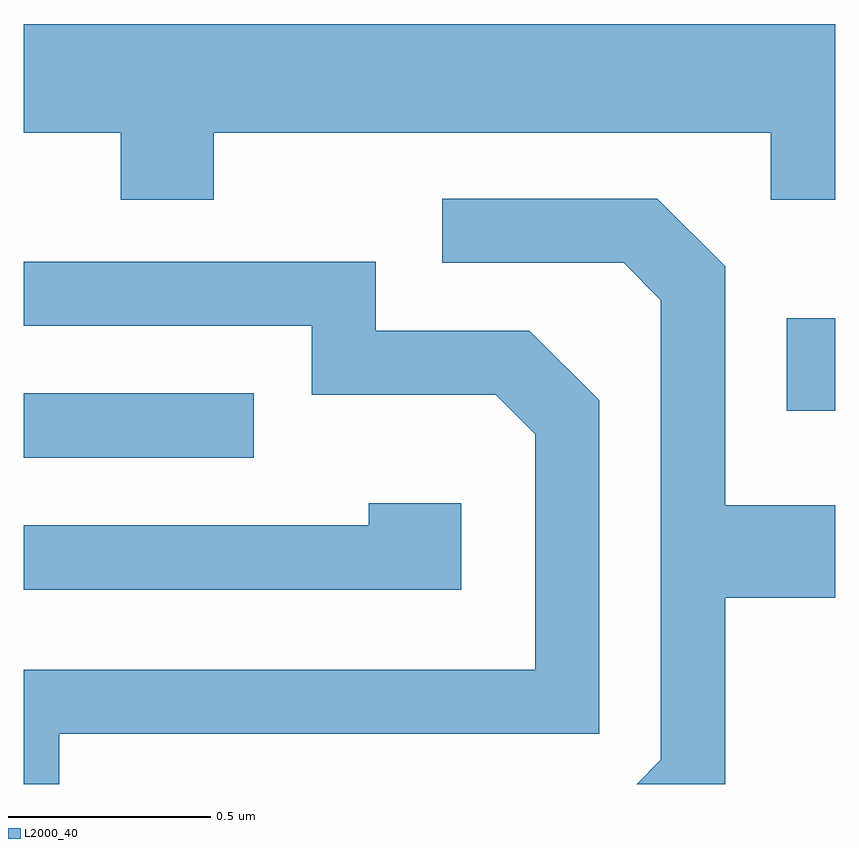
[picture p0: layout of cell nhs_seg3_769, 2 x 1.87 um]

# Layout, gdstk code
import gdstk
lib = gdstk.Library(unit=1e-6, precision=1e-09)
def R(c, l, rs):  # rectangles x0, y0, x1, y1
    for r in rs: c.add(gdstk.rectangle(r[:2], r[2:], *l))
def P(c, l, *ps):  # polygons
    for p in ps: c.add(gdstk.Polygon(p, *l))
L2000_40 = (2000, 40)

nhs_seg3_769 = lib.new_cell('nhs_seg3_769')
R(nhs_seg3_769, L2000_40, [(190.611,1200.696,191.178,1200.854), (192.491,1200.811,192.611,1201.039)])
P(nhs_seg3_769, L2000_40, [(191.079,1201.496),(192.451,1201.496),(192.451,1201.331),(192.611,1201.331),(192.611,1201.764),(190.611,1201.764),(190.611,1201.496),(190.851,1201.496),(190.851,1201.331),(191.079,1201.331)],
  [(192.339,1200.351),(192.611,1200.351),(192.611,1200.579),(192.339,1200.579),(192.339,1201.167),(192.172,1201.334),(191.643,1201.334),(191.643,1201.176),(192.089,1201.176),(192.181,1201.084),(192.181,1199.952),(192.122,1199.892),(192.339,1199.892)],
  [(190.699,1200.016),(192.029,1200.016),(192.029,1200.837),(191.857,1201.009),(191.479,1201.009),(191.479,1201.179),(190.611,1201.179),(190.611,1201.021),(191.321,1201.021),(191.321,1200.851),(191.774,1200.851),(191.871,1200.754),(191.871,1200.174),(190.611,1200.174),(190.611,1199.892),(190.699,1199.892)],
  [(191.689,1200.584),(191.461,1200.584),(191.461,1200.529),(190.611,1200.529),(190.611,1200.371),(191.689,1200.371)])

lib.write_gds('nhs_seg3_769.gds')
